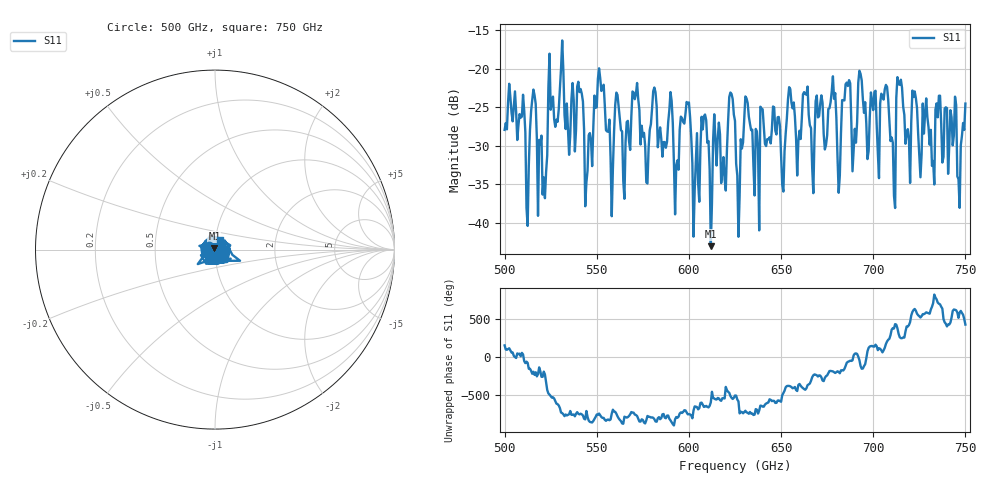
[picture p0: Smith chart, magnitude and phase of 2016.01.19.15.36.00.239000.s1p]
!Created with skrf (http://scikit-rf.org).
# GHz S RI R 50.0
!freq ReS11 ImS11
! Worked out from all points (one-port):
!   401 points, 500 GHz to 750 GHz, reference 50 ohm
!   lowest |S11| = -43.0 dB at 611.9 GHz (marker M1), VSWR 1.01, Z = 49.7 + j0.618 ohm
!   |S11| at or under -10 dB: start of sweep to end of sweep
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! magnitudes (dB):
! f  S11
! 500 GHz  -27.9
! 512.5 GHz  -40.4
! 515.6 GHz  -22.7
! 521.9 GHz  -36.8
! 525 GHz  -25.3
! 531.2 GHz  -16.3
! 541.2 GHz  -22.6
! 544.4 GHz  -34.8
! 551.9 GHz  -21.2
! 557.5 GHz  -31.7
! 562.5 GHz  -26.4
! 590 GHz  -23.0
! 593.8 GHz  -31.9
! 599.4 GHz  -24.5
! 602.5 GHz  -41.8
! 608.1 GHz  -26.2
! 611.9 GHz  -43.0
! 625 GHz  -26.8
! 651.2 GHz  -35.9
! 656.2 GHz  -25.1
! 687.5 GHz  -21.9
! 706.9 GHz  -22.1
! 710.6 GHz  -29.6
! 714.4 GHz  -22.1
! 718.8 GHz  -27.8
! 735 GHz  -26.3
! 746.9 GHz  -38.1
! 750 GHz  -24.5
